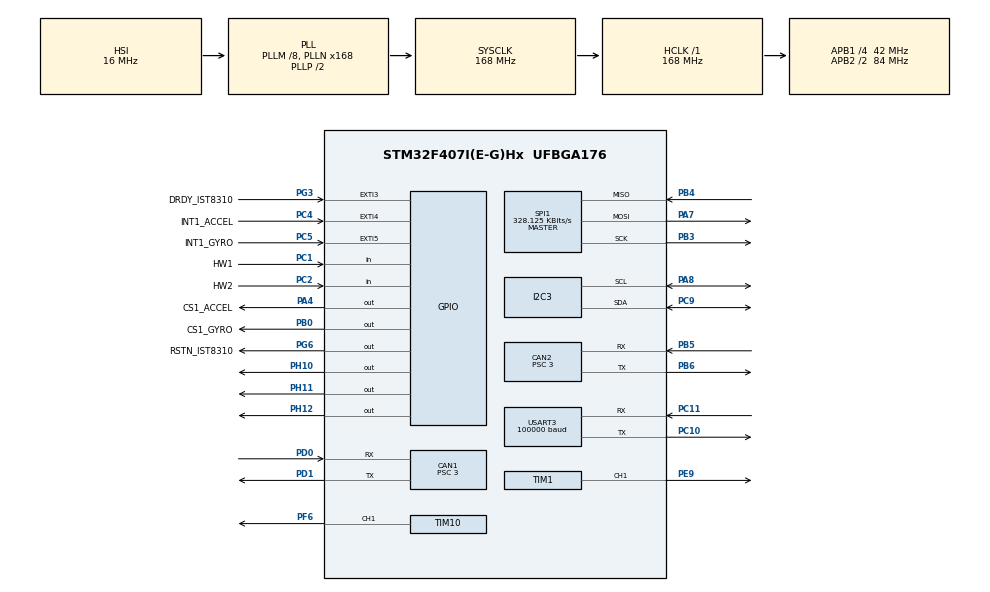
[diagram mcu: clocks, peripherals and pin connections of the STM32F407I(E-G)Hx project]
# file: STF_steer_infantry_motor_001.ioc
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CAN1.ABOM=ENABLE
CAN1.AWUM=ENABLE
CAN1.BS1=CAN_BS1_10TQ
CAN1.BS2=CAN_BS2_3TQ
CAN1.CalculateBaudRate=1000000
CAN1.CalculateTimeBit=1000
CAN1.CalculateTimeQuantum=71.42857142857143
CAN1.NART=ENABLE
CAN1.Prescaler=3
CAN1.TXFP=ENABLE
CAN2.ABOM=ENABLE
CAN2.AWUM=ENABLE
CAN2.BS1=CAN_BS1_10TQ
CAN2.BS2=CAN_BS2_3TQ
CAN2.CalculateBaudRate=1000000
CAN2.CalculateTimeBit=1000
CAN2.CalculateTimeQuantum=71.42857142857143
CAN2.NART=ENABLE
CAN2.Prescaler=3
CAN2.TXFP=ENABLE
Dma.Request0=USART3_RX
Dma.USART3_RX.0.Direction=DMA_PERIPH_TO_MEMORY
Dma.USART3_RX.0.FIFOMode=DMA_FIFOMODE_DISABLE
Dma.USART3_RX.0.Instance=DMA1_Stream1
Dma.USART3_RX.0.MemDataAlignment=DMA_MDATAALIGN_BYTE
Dma.USART3_RX.0.MemInc=DMA_MINC_ENABLE
Dma.USART3_RX.0.Mode=DMA_CIRCULAR
Dma.USART3_RX.0.PeriphDataAlignment=DMA_PDATAALIGN_BYTE
Dma.USART3_RX.0.PeriphInc=DMA_PINC_DISABLE
Dma.USART3_RX.0.Priority=DMA_PRIORITY_MEDIUM
FREERTOS.Tasks01=defaultTask,0,128,StartDefaultTask,As weak,NULL,Dynamic,NULL,NULL;test_Task,0,256,TestTask,As weak,NULL,Dynamic,NULL,NULL;imu_task,0,256,IMU_Task,As weak,NULL,Dynamic,NULL,NULL;console_task,0,256,Console_Task,As weak,NULL,Dynamic,NULL,NULL;chassis_task,0,256,Chassis_Task,As weak,NULL,Dynamic,NULL,NULL;gimbal_steer_ta,0,256,Gimbal_Steer_Task,As weak,NULL,Dynamic,NULL,NULL;shoot_task,0,256,ShootTask,As weak,NULL,Dynamic,NULL,NULL
FREERTOS.Timers01=test_Timer,TestTimerCallback,osTimerPeriodic,As weak,NULL,Dynamic,NULL
FREERTOS.configUSE_TIMERS=1
I2C3.I2C_Mode=I2C_Fast
Mcu.Family=STM32F4
Mcu.Name=STM32F407I(E-G)Hx
Mcu.Package=UFBGA176
NVIC.CAN1_RX0_IRQn=true\:5\:0\:false\:false\:true\:true\:true\:true\:true
NVIC.CAN1_TX_IRQn=true\:5\:0\:false\:false\:true\:true\:true\:true\:true
NVIC.CAN2_RX0_IRQn=true\:5\:0\:false\:false\:true\:true\:true\:true\:true
NVIC.CAN2_TX_IRQn=true\:5\:0\:false\:false\:true\:true\:true\:true\:true
NVIC.DMA1_Stream1_IRQn=true\:5\:0\:false\:false\:true\:true\:false\:true\:true
NVIC.EXTI3_IRQn=true\:5\:0\:false\:false\:true\:true\:true\:true\:true
NVIC.EXTI4_IRQn=true\:5\:0\:false\:false\:true\:true\:true\:true\:true
NVIC.EXTI9_5_IRQn=true\:5\:0\:false\:false\:true\:true\:true\:true\:true
NVIC.PriorityGroup=NVIC_PRIORITYGROUP_4
NVIC.TIM6_DAC_IRQn=true\:0\:0\:true\:false\:true\:false\:false\:true\:true
NVIC.TimeBase=TIM6_DAC_IRQn
NVIC.TimeBaseIP=TIM6
NVIC.USART3_IRQn=true\:5\:0\:false\:false\:true\:true\:true\:true\:true
PA13.Mode=Serial_Wire
PA13.Signal=SYS_JTMS-SWDIO
PA14.Mode=Serial_Wire
PA14.Signal=SYS_JTCK-SWCLK
PA4.GPIO_Label=CS1_ACCEL
PA4.Signal=GPIO_Output
PA7.GPIO_PuPd=GPIO_PULLUP
PA7.Mode=Full_Duplex_Master
PA7.Signal=SPI1_MOSI
PA8.GPIO_Pu=GPIO_PULLUP
PA8.Mode=I2C
PA8.Signal=I2C3_SCL
PB0.GPIO_Label=CS1_GYRO
PB0.GPIO_Speed=GPIO_SPEED_FREQ_LOW
PB0.Signal=GPIO_Output
PB3.GPIO_PuPd=GPIO_PULLUP
PB3.Mode=Full_Duplex_Master
PB3.Signal=SPI1_SCK
PB4.GPIO_PuPd=GPIO_PULLUP
PB4.Mode=Full_Duplex_Master
PB4.Signal=SPI1_MISO
PB5.Mode=CAN_Activate
PB5.Signal=CAN2_RX
PB6.Mode=CAN_Activate
PB6.Signal=CAN2_TX
PC1.GPIO_Label=HW1
PC1.Signal=GPIO_Input
PC10.Mode=Asynchronous
PC10.Signal=USART3_TX
PC11.Mode=Asynchronous
PC11.Signal=USART3_RX
PC2.GPIO_Label=HW2
PC2.Signal=GPIO_Input
PC4.GPIO_Label=INT1_ACCEL
PC4.GPIO_PuPd=GPIO_PULLUP
PC4.Signal=GPXTI4
PC5.GPIO_Label=INT1_GYRO
PC5.GPIO_PuPd=GPIO_PULLUP
PC5.Signal=GPXTI5
PC9.GPIO_Pu=GPIO_PULLUP
PC9.Mode=I2C
PC9.Signal=I2C3_SDA
PD0.Mode=CAN_Activate
PD0.Signal=CAN1_RX
PD1.Mode=CAN_Activate
PD1.Signal=CAN1_TX
PE9.Signal=S_TIM1_CH1
PF6.Signal=S_TIM10_CH1
PG3.GPIO_Label=DRDY_IST8310
PG3.GPIO_PuPd=GPIO_PULLUP
PG3.Signal=GPXTI3
PG6.GPIO_Label=RSTN_IST8310
PG6.GPIO_PuPd=GPIO_PULLUP
PG6.GPIO_Speed=GPIO_SPEED_FREQ_MEDIUM
PG6.Signal=GPIO_Output
PH0-OSC_IN.Mode=HSE-External-Oscillator
PH0-OSC_IN.Signal=RCC_OSC_IN
PH1-OSC_OUT.Mode=HSE-External-Oscillator
PH1-OSC_OUT.Signal=RCC_OSC_OUT
PH10.Signal=GPIO_Output
PH11.Signal=GPIO_Output
PH12.Signal=GPIO_Output
ProjectManager.HeapSize=0x200
ProjectManager.StackSize=0x400
ProjectManager.TargetToolchain=MDK-ARM V5
RCC.48MHZClocksFreq_Value=84000000
RCC.AHBFreq_Value=168000000
RCC.APB1CLKDivider=RCC_HCLK_DIV4
RCC.APB1Freq_Value=42000000
RCC.APB1TimFreq_Value=84000000
RCC.APB2CLKDivider=RCC_HCLK_DIV2
RCC.APB2Freq_Value=84000000
RCC.APB2TimFreq_Value=168000000
RCC.CortexFreq_Value=168000000
RCC.HCLKFreq_Value=168000000
RCC.HSE_VALUE=12000000
RCC.HSI_VALUE=16000000
RCC.LSE_VALUE=32768
RCC.PLLM=8
RCC.PLLN=168
RCC.SYSCLKFreq_VALUE=168000000
RCC.SYSCLKSource=RCC_SYSCLKSOURCE_PLLCLK
RCC.VCOOutputFreq_Value=336000000
SH.S_TIM10_CH1.0=TIM10_CH1,PWM Generation1 CH1
SH.S_TIM1_CH1.0=TIM1_CH1,PWM Generation1 CH1
SPI1.BaudRatePrescaler=SPI_BAUDRATEPRESCALER_256
SPI1.CLKPhase=SPI_PHASE_2EDGE
SPI1.CLKPolarity=SPI_POLARITY_HIGH
SPI1.CalculateBaudRate=328.125 KBits/s
SPI1.Direction=SPI_DIRECTION_2LINES
SPI1.Mode=SPI_MODE_MASTER
SPI1.VirtualType=VM_MASTER
TIM1.Channel-PWM\ Generation1\ CH1=TIM_CHANNEL_1
TIM1.Period=799
TIM1.Prescaler=4199
TIM10.Channel=TIM_CHANNEL_1
TIM10.Period=4999
TIM5.Period=65535
USART3.BaudRate=100000
USART3.Parity=PARITY_EVEN
USART3.VirtualMode=VM_ASYNC
VP_FREERTOS_VS_CMSIS_V1.Mode=CMSIS_V1
VP_SYS_VS_tim6.Mode=TIM6
VP_TIM10_VS_ClockSourceINT.Mode=Enable_Timer
VP_TIM1_VS_ClockSourceINT.Mode=Internal
VP_TIM5_VS_ClockSourceINT.Mode=Internal
board=custom

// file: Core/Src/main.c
/* USER CODE BEGIN Header */
/**
  ******************************************************************************
  * @file           : main.c
  * @brief          : Main program body
  ******************************************************************************
  * @attention
  *
  * Copyright (c) 2023 STMicroelectronics.
  * All rights reserved.
  *
  * This software is licensed under terms that can be found in the LICENSE file
  * in the root directory of this software component.
  * If no LICENSE file comes with this software, it is provided AS-IS.
  *
  ******************************************************************************
  */
/* USER CODE END Header */
#include "main.h"
#include "cmsis_os.h"
#include "can.h"
#include "dma.h"
#include "i2c.h"
#include "spi.h"
#include "tim.h"
#include "usart.h"
#include "gpio.h"

/* USER CODE BEGIN Includes */
#include "bsp_can.h"
#include "pid.h"
#include "remote_control.h"
#include "bsp_delay.h"
#include "infantry_console.h"
#include "imu_task.h"
#include "Chassis_steer_app.h"
#include "Gimbal_steer_app.h"
/* USER CODE END Includes */

void SystemClock_Config(void);
void MX_FREERTOS_Init(void);

int main(void)
{

  /* MCU Configuration--------------------------------------------------------*/

  /* Reset of all peripherals, Initializes the Flash interface and the Systick. */
  HAL_Init();

  /* Configure the system clock */
  SystemClock_Config();

  /* Initialize all configured peripherals */
  MX_GPIO_Init();
  MX_DMA_Init();
  MX_CAN1_Init();
  MX_CAN2_Init();
  MX_TIM5_Init();
  MX_USART3_UART_Init();
  MX_SPI1_Init();
  MX_I2C3_Init();
  MX_TIM10_Init();
  MX_TIM1_Init();
  /* USER CODE BEGIN 2 */
	BSP_CAN1_FilterConfig();
	BSP_CAN2_FilterConfig();
	dbus_uart_init();
	ConsoleTaskInit();
	Chassis_steerAppConfig();
	BSP_DelayInit();
	GimbalAppConfig();
	HAL_TIM_PWM_Start(&htim1,TIM_CHANNEL_1);
  /* USER CODE END 2 */

  /* Call init function for freertos objects (in freertos.c) */
  MX_FREERTOS_Init();

  /* Start scheduler */
  osKernelStart();
  /* We should never get here as control is now taken by the scheduler */
  /* Infinite loop */
  while (1)
  {

  }
}

void SystemClock_Config(void)
{
  RCC_OscInitTypeDef RCC_OscInitStruct = {0};
  RCC_ClkInitTypeDef RCC_ClkInitStruct = {0};

  /** Configure the main internal regulator output voltage
  */
  __HAL_RCC_PWR_CLK_ENABLE();
  __HAL_PWR_VOLTAGESCALING_CONFIG(PWR_REGULATOR_VOLTAGE_SCALE1);

  /** Initializes the RCC Oscillators according to the specified parameters
  * in the RCC_OscInitTypeDef structure.
  */
  RCC_OscInitStruct.OscillatorType = RCC_OSCILLATORTYPE_HSI;
  RCC_OscInitStruct.HSIState = RCC_HSI_ON;
  RCC_OscInitStruct.HSICalibrationValue = RCC_HSICALIBRATION_DEFAULT;
  RCC_OscInitStruct.PLL.PLLState = RCC_PLL_ON;
  RCC_OscInitStruct.PLL.PLLSource = RCC_PLLSOURCE_HSI;
  RCC_OscInitStruct.PLL.PLLM = 8;
  RCC_OscInitStruct.PLL.PLLN = 168;
  RCC_OscInitStruct.PLL.PLLP = RCC_PLLP_DIV2;
  RCC_OscInitStruct.PLL.PLLQ = 4;
  if (HAL_RCC_OscConfig(&RCC_OscInitStruct) != HAL_OK)
  {
    Error_Handler();
  }

  /** Initializes the CPU, AHB and APB buses clocks
  */
  RCC_ClkInitStruct.ClockType = RCC_CLOCKTYPE_HCLK|RCC_CLOCKTYPE_SYSCLK
                              |RCC_CLOCKTYPE_PCLK1|RCC_CLOCKTYPE_PCLK2;
  RCC_ClkInitStruct.SYSCLKSource = RCC_SYSCLKSOURCE_PLLCLK;
  RCC_ClkInitStruct.AHBCLKDivider = RCC_SYSCLK_DIV1;
  RCC_ClkInitStruct.APB1CLKDivider = RCC_HCLK_DIV4;
  RCC_ClkInitStruct.APB2CLKDivider = RCC_HCLK_DIV2;

  if (HAL_RCC_ClockConfig(&RCC_ClkInitStruct, FLASH_LATENCY_5) != HAL_OK)
  {
    Error_Handler();
  }
}

void HAL_TIM_PeriodElapsedCallback(TIM_HandleTypeDef *htim)
{
  if (htim->Instance == TIM6) {
    HAL_IncTick();
  }
}

void Error_Handler(void)
{
  __disable_irq();
  while (1)
  {
  }
}

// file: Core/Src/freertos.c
/* USER CODE BEGIN Header */
/**
  ******************************************************************************
  * File Name          : freertos.c
  * Description        : Code for freertos applications
  ******************************************************************************
  * @attention
  *
  * Copyright (c) 2023 STMicroelectronics.
  * All rights reserved.
  *
  * This software is licensed under terms that can be found in the LICENSE file
  * in the root directory of this software component.
  * If no LICENSE file comes with this software, it is provided AS-IS.
  *
  ******************************************************************************
  */
/* USER CODE END Header */

#include "FreeRTOS.h"
#include "task.h"
#include "main.h"
#include "cmsis_os.h"

osThreadId defaultTaskHandle;
osThreadId test_TaskHandle;
osThreadId imu_taskHandle;
osThreadId console_taskHandle;
osThreadId chassis_taskHandle;
osThreadId gimbal_steer_taHandle;
osThreadId shoot_taskHandle;
osTimerId test_TimerHandle;

void StartDefaultTask(void const * argument);
void TestTask(void const * argument);
void IMU_Task(void const * argument);
void Console_Task(void const * argument);
void Chassis_Task(void const * argument);
void Gimbal_Steer_Task(void const * argument);
void ShootTask(void const * argument);
void TestTimerCallback(void const * argument);

void MX_FREERTOS_Init(void); /* (MISRA C 2004 rule 8.1) */

/* GetIdleTaskMemory prototype (linked to static allocation support) */
void vApplicationGetIdleTaskMemory( StaticTask_t **ppxIdleTaskTCBBuffer, StackType_t **ppxIdleTaskStackBuffer, uint32_t *pulIdleTaskStackSize );

/* GetTimerTaskMemory prototype (linked to static allocation support) */
void vApplicationGetTimerTaskMemory( StaticTask_t **ppxTimerTaskTCBBuffer, StackType_t **ppxTimerTaskStackBuffer, uint32_t *pulTimerTaskStackSize );

/* USER CODE BEGIN GET_IDLE_TASK_MEMORY */
static StaticTask_t xIdleTaskTCBBuffer;
static StackType_t xIdleStack[configMINIMAL_STACK_SIZE];

void vApplicationGetIdleTaskMemory( StaticTask_t **ppxIdleTaskTCBBuffer, StackType_t **ppxIdleTaskStackBuffer, uint32_t *pulIdleTaskStackSize )
{
  *ppxIdleTaskTCBBuffer = &xIdleTaskTCBBuffer;
  *ppxIdleTaskStackBuffer = &xIdleStack[0];
  *pulIdleTaskStackSize = configMINIMAL_STACK_SIZE;
  /* place for user code */
}
/* USER CODE END GET_IDLE_TASK_MEMORY */

/* USER CODE BEGIN GET_TIMER_TASK_MEMORY */
static StaticTask_t xTimerTaskTCBBuffer;
static StackType_t xTimerStack[configTIMER_TASK_STACK_DEPTH];

void vApplicationGetTimerTaskMemory( StaticTask_t **ppxTimerTaskTCBBuffer, StackType_t **ppxTimerTaskStackBuffer, uint32_t *pulTimerTaskStackSize )
{
  *ppxTimerTaskTCBBuffer = &xTimerTaskTCBBuffer;
  *ppxTimerTaskStackBuffer = &xTimerStack[0];
  *pulTimerTaskStackSize = configTIMER_TASK_STACK_DEPTH;
  /* place for user code */
}
/* USER CODE END GET_TIMER_TASK_MEMORY */

void MX_FREERTOS_Init(void) {

  /* Create the timer(s) */
  /* definition and creation of test_Timer */
  osTimerDef(test_Timer, TestTimerCallback);
  test_TimerHandle = osTimerCreate(osTimer(test_Timer), osTimerPeriodic, NULL);

  /* Create the thread(s) */
  /* definition and creation of defaultTask */
  osThreadDef(defaultTask, StartDefaultTask, osPriorityNormal, 0, 128);
  defaultTaskHandle = osThreadCreate(osThread(defaultTask), NULL);

  /* definition and creation of test_Task */
  osThreadDef(test_Task, TestTask, osPriorityNormal, 0, 256);
  test_TaskHandle = osThreadCreate(osThread(test_Task), NULL);

  /* definition and creation of imu_task */
  osThreadDef(imu_task, IMU_Task, osPriorityNormal, 0, 256);
  imu_taskHandle = osThreadCreate(osThread(imu_task), NULL);

  /* definition and creation of console_task */
  osThreadDef(console_task, Console_Task, osPriorityNormal, 0, 256);
  console_taskHandle = osThreadCreate(osThread(console_task), NULL);

  /* definition and creation of chassis_task */
  osThreadDef(chassis_task, Chassis_Task, osPriorityNormal, 0, 256);
  chassis_taskHandle = osThreadCreate(osThread(chassis_task), NULL);

  /* definition and creation of gimbal_steer_ta */
  osThreadDef(gimbal_steer_ta, Gimbal_Steer_Task, osPriorityNormal, 0, 256);
  gimbal_steer_taHandle = osThreadCreate(osThread(gimbal_steer_ta), NULL);

  /* definition and creation of shoot_task */
  osThreadDef(shoot_task, ShootTask, osPriorityNormal, 0, 256);
  shoot_taskHandle = osThreadCreate(osThread(shoot_task), NULL);

}

__weak void StartDefaultTask(void const * argument)
{
  for(;;)
  {
    osDelay(1);
  }
}

__weak void TestTask(void const * argument)
{
  for(;;)
  {
    osDelay(1);
  }
}

__weak void IMU_Task(void const * argument)
{
  for(;;)
  {
    osDelay(1);
  }
}

__weak void Console_Task(void const * argument)
{
  for(;;)
  {
    osDelay(1);
  }
}

__weak void Chassis_Task(void const * argument)
{
  for(;;)
  {
    osDelay(1);
  }
}

__weak void Gimbal_Steer_Task(void const * argument)
{
  for(;;)
  {
    osDelay(1);
  }
}

__weak void ShootTask(void const * argument)
{
  for(;;)
  {
    osDelay(1);
  }
}

/* TestTimerCallback function */
__weak void TestTimerCallback(void const * argument)
{
}
